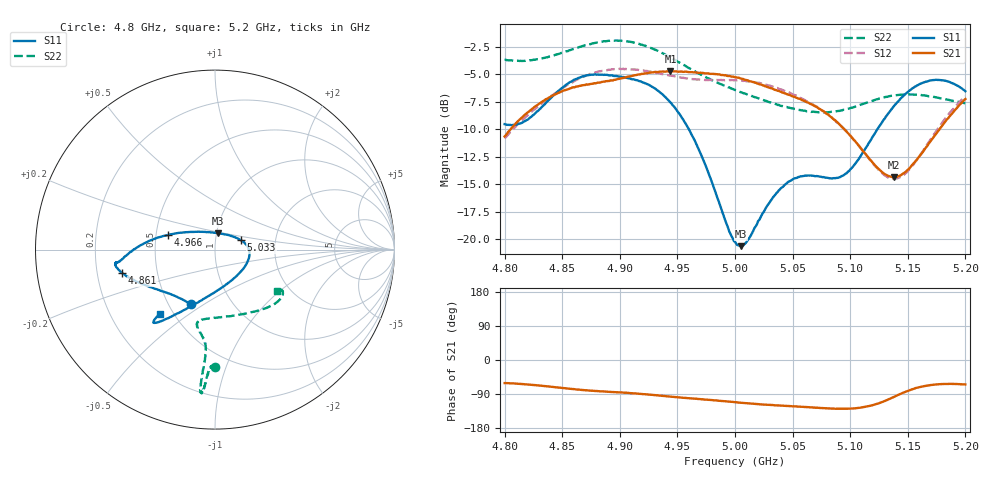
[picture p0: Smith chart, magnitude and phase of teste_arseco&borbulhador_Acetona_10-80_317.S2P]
! Network Analyzer HP8722D
! Hewlett-Packard
! Data name: Linha & Wilkinson
! Saver's name: Rodrigo Anjos
! Comments: Teste da utilização de aquisição
! continua pelo VNA HP8722D
! Time and date: 17/4/2025 17:00
!  Frequency  S11  S21  S12  S22
# HZ  S  MA R 50
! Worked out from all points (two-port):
!   401 points, 4.8 GHz to 5.2 GHz, reference 50 ohm
!   highest |S21| = -4.69 dB at 4.944 GHz (marker M1); lowest = -14.4 dB at 5.138 GHz (marker M2)
!   |S21| within 3 dB of the highest: 4.83 GHz to 5.066 GHz (236.2 MHz wide, 4.77 % of centre); 5.195711 GHz to end of sweep
!   lowest |S11| = -20.6 dB at 5.005 GHz (marker M3), VSWR 1.20, Z = 50.6 + j9.35 ohm
!   |S11| at or under -10 dB: 4.96 GHz to 5.124 GHz (163.6 MHz wide, 3.24 % of centre)
!   |S22| runs from -8.5 to -1.9 dB; largest |S21 - S12| = 0.87
!   S11 on the Smith chart (normalised r, x): 4.8 GHz: 0.64, -0.44; 4.861 GHz: 0.31, -0.11; 4.966 GHz: 0.58, +0.10; 5.033 GHz: 1.33, +0.14; 5.2 GHz: 0.42, -0.39
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4.8e9  0.3339 -113.9  0.2934 -60.9  0.2876 -175.1  0.6561 -90.2
4.819e9  0.3482 -133.9  0.374 -64.4  0.3622 -173.9  0.6512 -91.8
4.861e9  0.5336 -165.8  0.4916 -77.2  0.5269 -177.2  0.7371 -94.1
4.867e9  0.549 -168.3  0.5014 -79.1  0.5451 -178.3  0.7561 -94.2
4.899e9  0.55 -172.6  0.5369 -85.4  0.5955 175.1  0.8008 -95.5
4.934e9  0.4707 -178.5  0.5781 -93.9  0.5692 171.6  0.7144 -96.0
4.944e9  0.4192 177.0  0.5826 -96.7  0.5566 171.7  0.6724 -95.7
4.966e9  0.2742 162.5  0.5741 -102.2  0.5343 173.6  0.5774 -95.2
5e9  0.09712 99.4  0.5458 -111.3  0.5299 175.9  0.4777 -99.2
5.005e9  0.09279 81.2  0.5386 -112.8  0.527 175.7  0.4668 -100.4
5.012e9  0.1003 57.9  0.5257 -114.6  0.522 175.8  0.4531 -101.8
5.033e9  0.1549 19.6  0.4835 -118.9  0.4945 174.6  0.4157 -103.3
5.049e9  0.1852 3.2  0.4491 -121.9  0.4597 174.0  0.3949 -99.7
5.067e9  0.1944 -16.0  0.4093 -125.1  0.4131 173.5  0.38 -90.2
5.086e9  0.1895 -46.1  0.3501 -128.2  0.3508 173.5  0.381 -75.9
5.097e9  0.1995 -68.6  0.3078 -128.6  0.309 174.7  0.391 -66.9
5.134e9  0.3793 -117.3  0.1933 -102.9  0.1893 -155.9  0.4479 -43.1
5.138e9  0.4039 -119.5  0.1913 -97.3  0.188 -149.5  0.451 -41.2
5.151e9  0.4724 -125.2  0.2091 -80.3  0.2071 -129.9  0.4565 -36.5
5.17e9  0.5286 -129.4  0.2801 -66.0  0.2855 -112.2  0.4466 -32.2
5.184e9  0.5243 -130.6  0.3512 -63.1  0.3626 -107.3  0.4324 -31.2
5.2e9  0.4716 -130.9  0.4346 -64.6  0.4467 -106.8  0.4153 -33.5
